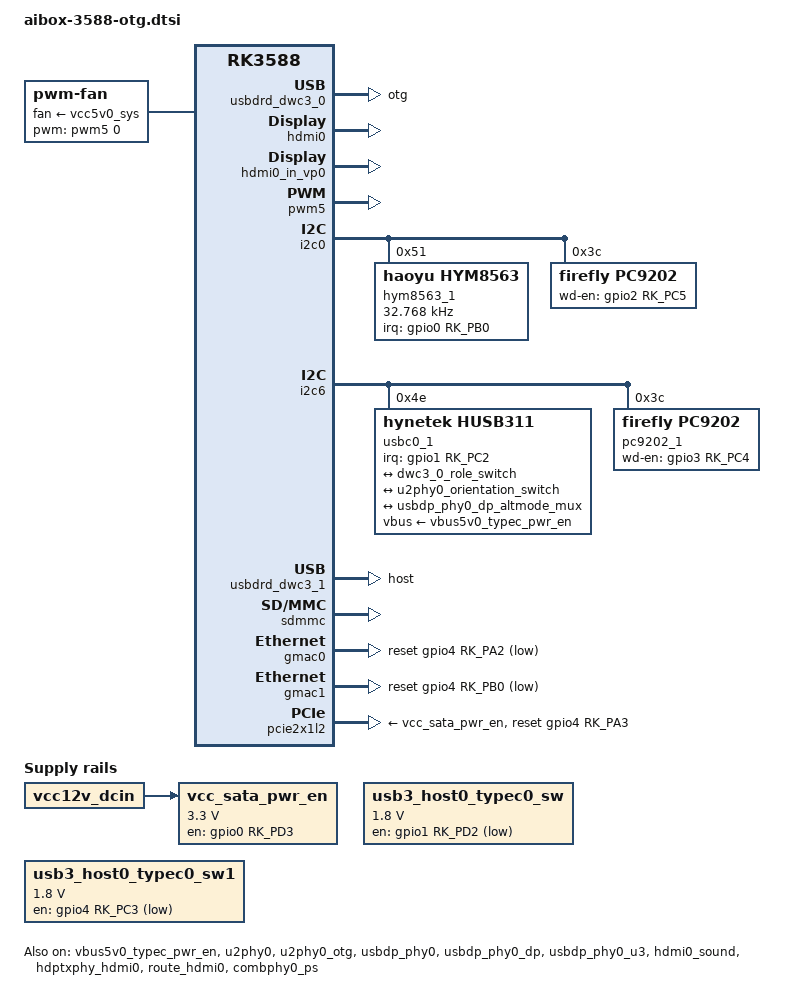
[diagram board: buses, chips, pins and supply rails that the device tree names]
// SPDX-License-Identifier: (GPL-2.0+ OR MIT)
/*
 * Copyright (c) 2021 Rockchip Electronics Co., Ltd.
 *
 */
 
 #define rk3588
 #include "rk3588-firefly-port.dtsi"
 #include "rk3588-diff.dtsi"

#define M2_SATA_OR_PCIE 0 /*1 = SATA , 0 = PCIe */
#define TYPEC_OTG_20 1 /*1 = OTG , 0 = HOST */

 / {

	usb3_host0_typec0_sw: usb3-host0-typec0-sw {
  		compatible = "regulator-fixed";
                regulator-name = "usb3_host0_typec0_sw";
                regulator-min-microvolt = <1800000>;
                regulator-max-microvolt = <1800000>;
                regulator-always-on;
                regulator-boot-on;
				enable-active-low;
				gpio = <&gpio1 RK_PD2 GPIO_ACTIVE_LOW>;
                pinctrl-names = "default";
                pinctrl-0 = <&usb3_host0_typec0_sw_en>;
	 };

 	usb3_host0_typec0_sw1: usb3-host0-typec0-sw1 {
  		compatible = "regulator-fixed";
                regulator-name = "usb3_host0_typec0_sw1";
                regulator-min-microvolt = <1800000>;
                regulator-max-microvolt = <1800000>;
                regulator-always-on;
                regulator-boot-on;
                enable-active-low;
                gpio = <&gpio4 RK_PC3 GPIO_ACTIVE_LOW>;
                pinctrl-names = "default";
                pinctrl-0 = <&usb3_host0_typec0_sw1_en>;
 	};

/* led */
	firefly_leds: leds {
		pinctrl-names = "default";
		pinctrl-0 =<&leds_gpio>;
		power_led: power {
			gpios = <&gpio2 RK_PC3 GPIO_ACTIVE_HIGH>;//blue led
		};

		user_led: user {
			gpios = < &gpio3 RK_PC1 GPIO_ACTIVE_HIGH>;//red led
		};

		user1_led: user1 {
			label = ":user1"; 
			default-state = "off";
			gpios = <&gpio3 RK_PC0 GPIO_ACTIVE_HIGH>;//green led
		};
	};

 	fan: pwm-fan {
		compatible = "pwm-fan";
		#cooling-cells = <2>;
		fan-supply = <&vcc5v0_sys>;
		pwms = <&pwm5 0 50000 0>;
		cooling-levels = <0 50 100 150 200 255>;
        rockchip,temp-trips = <
            50000   1
            55000   2
            60000   3
            65000   4
            70000   5
        >;
	};
};

#if TYPEC_OTG_20
&vbus5v0_typec_pwr_en{
	status = "okay";
	gpio = <&gpio1 RK_PD1 GPIO_ACTIVE_HIGH>; 
};

/delete-node/ &usbc0;

&usbdrd_dwc3_0 {
	status = "okay";
	dr_mode = "otg";
};

&u2phy0 {
	status = "okay";
	orientation-switch;
	port {
			#address-cells = <1>;
			#size-cells = <0>;
			u2phy0_orientation_switch: endpoint@0 {
					reg = <0>;
					remote-endpoint = <&usbc0_orien_sw>;
			};
		};
};

&u2phy0_otg { 
	status = "okay";
}; 
#else
&vbus5v0_typec_pwr_en {
    status = "okay";
    regulator-boot-on;
    regulator-always-on;
    enable-active-high;
    gpio = <&gpio1 RK_PD1 GPIO_ACTIVE_HIGH>;
};

&usbdrd_dwc3_0 {
	status = "okay";
	dr_mode = "host";
};

&u2phy0 {
	status = "okay";
};

&u2phy0_otg { 
   phy-supply  = <&vbus5v0_typec_pwr_en>;
   status = "okay";
}; 
#endif

&usbdp_phy0 {
	/delete-property/ sbu1-dc-gpios;
	/delete-property/ sbu2-dc-gpios;
	/delete-property/ orientation-switch;
	/delete-property/ svid;
	/delete-property/ usbdp_phy0_orientation_switch;
	/delete-property/ usbdp_phy0_dp_altmode_mux;
	status = "okay";
};

&usbdp_phy0_dp {
	status = "okay";
};

&usbdp_phy0_u3 {
	status = "okay";
};

/* hdmi0 */
&hdmi0 {
	enable-gpios = <&gpio1 RK_PB0 GPIO_ACTIVE_HIGH>;
	status = "okay";
};

&hdmi0_in_vp0 {
	status = "okay";
};

&hdmi0_sound {
	status = "okay";
};

&hdptxphy_hdmi0 {
	status = "okay";
};

&route_hdmi0{
	status = "okay";
};

//debug 115200
&fiq_debugger{
	rockchip,baudrate = <115200>;  /* Only 115200 and 1500000 */
};

&pwm5 {
	pinctrl-0 = <&pwm5m1_pins>;
	status = "okay";
};

&i2c0 {

	status = "okay";

/* rtc */
	hym8563_1: hym8563_1@51 {
		compatible = "haoyu,hym8563";
		reg = <0x51>;
		#clock-cells = <0>;
		clock-frequency = <32768>;
		clock-output-names = "hym8563";
		pinctrl-names = "default";
		pinctrl-0 = <&hym8563_int>;
		interrupt-parent = <&gpio0>;
		interrupts = <RK_PB0 IRQ_TYPE_LEVEL_LOW>;
		wakeup-source;
		status = "okay";
	};

/* watch dog on core*/
    pc9202@3c {
        status = "okay";
        compatible = "firefly,pc9202";
        index = <0>;
        driver-names = "wdt_core";
        reg = <0x3c>;
        wd-en-gpio = <&gpio2 RK_PC5 GPIO_ACTIVE_HIGH>;
    };
};

&i2c6 {
	status = "okay";
	pinctrl-names = "default";
	pinctrl-0 = <&i2c6m0_xfer>;
#if TYPEC_OTG_20
	usbc0_1: husb311@4e {
		compatible = "hynetek,husb311";
		reg = <0x4e>;
		interrupt-parent = <&gpio1>;
		interrupts = <RK_PC2 IRQ_TYPE_LEVEL_LOW>;
		pinctrl-names = "default";
		pinctrl-0 = <&usbc0_int>;
		vbus-supply = <&vbus5v0_typec_pwr_en>;
		status = "okay";

		ports {
			#address-cells = <1>;
			#size-cells = <0>;

			port@0 {
				reg = <0>;
				usbc0_role_sw: endpoint@0 {
					remote-endpoint = <&dwc3_0_role_switch>;
				};
			};
		};

		usb_con: connector {
			compatible = "usb-c-connector";
			label = "USB-C";
			data-role = "dual";
			power-role = "dual";
			try-power-role = "sink";
			op-sink-microwatt = <1000000>;
			sink-pdos =
				<PDO_FIXED(5000, 1000, PDO_FIXED_USB_COMM)>;
			source-pdos =
				<PDO_FIXED(5000, 3000, PDO_FIXED_USB_COMM)>;

			altmodes {
				#address-cells = <1>;
				#size-cells = <0>;

				altmode@0 {
					reg = <0>;
					svid = <0xff01>;
					vdo = <0xffffffff>;
				};
			};

			ports {
				#address-cells = <1>;
				#size-cells = <0>;

				port@0 {
					reg = <0>;
					usbc0_orien_sw: endpoint {
						remote-endpoint = <&u2phy0_orientation_switch>;
					};
				};
				
				port@1 {
					reg = <1>;
					dp_altmode_mux: endpoint {
						remote-endpoint = <&usbdp_phy0_dp_altmode_mux>;
					};
				};
			};
		};
	};
#endif

/* watch dog on mother base*/
    pc9202_1@3c {
        status = "okay";
        compatible = "firefly,pc9202";
        reg = <0x3c>;
        index = <1>;
        pinctrl-names = "default";
		pinctrl-0 =<&wdt_pc92>;
        wd-en-gpio = <&gpio3 RK_PC4 GPIO_ACTIVE_HIGH>; 
        driver-names = "wdt_base";
    };
};

/* usb */
&vcc5v0_host{
	status = "okay";
	gpio = <&gpio4 RK_PC6 GPIO_ACTIVE_HIGH>;  
};

//down
&usbdrd_dwc3_1{
	dr_mode = "host";
};

/* tf-card */
&sdmmc {
	status = "okay";
};

&vcc_sdcard_pwr_en{
	gpio = <&gpio1 RK_PA7 GPIO_ACTIVE_HIGH>; 
	status = "okay";
};

/* gamc0 */
&gmac0 {
	snps,reset-gpio = <&gpio4 RK_PA2 GPIO_ACTIVE_LOW>;
	tx_delay = <0x37>;
	status = "okay";
};

&gmac0_tx_bus2{
    rockchip,pins =
    /* gmac0_txd0 */
    <2 RK_PB6 1 &pcfg_pull_up_drv_level_6>,
    /* gmac0_txd1 */
    <2 RK_PB7 1 &pcfg_pull_up_drv_level_6>,
    /* gmac0_txen */
    <2 RK_PC0 1 &pcfg_pull_none>;
};

&gmac0_rgmii_bus{
	rockchip,pins =
	/* gmac0_rxd2 */
	<2 RK_PA6 1 &pcfg_pull_none>,
	/* gmac0_rxd3 */
	<2 RK_PA7 1 &pcfg_pull_none>,
	/* gmac0_txd2 */
	<2 RK_PB1 1 &pcfg_pull_up_drv_level_6>,
	/* gmac0_txd3 */
	<2 RK_PB2 1 &pcfg_pull_up_drv_level_6>;
};

/* gmac1 */
&gmac1 {
	snps,reset-gpio = <&gpio4 RK_PB0 GPIO_ACTIVE_LOW>;
	tx_delay = <0x45>;
	status = "okay";
};

&gmac1_tx_bus2{
	rockchip,pins =
	/* gmac1_txd0 */
	<3 RK_PB3 1 &pcfg_pull_up_drv_level_6>,
    /* gmac1_txd1 */
	<3 RK_PB4 1 &pcfg_pull_up_drv_level_6>,
	/* gmac1_txen */
	<3 RK_PB5 1 &pcfg_pull_none>;
};

&gmac1_rgmii_bus{
	rockchip,pins =
	/* gmac1_rxd2 */
	<3 RK_PA2 1 &pcfg_pull_none>,
	/* gmac1_rxd3 */
	<3 RK_PA3 1 &pcfg_pull_none>,
	/* gmac1_txd2 */
	<3 RK_PA0 1 &pcfg_pull_up_drv_level_6>,
	/* gmac1_txd3 */
	<3 RK_PA1 1 &pcfg_pull_up_drv_level_6>;
};

/* sata pm */
&combphy0_ps {
	status = "okay";
};


#if M2_SATA_OR_PCIE
&sata0 {
    //pinctrl-names = "default";
    //pinctrl-0 = <&sata_reset>;
	status = "okay";
};
#else
&pcie2x1l2 {
	reset-gpios = <&gpio4 RK_PA3 GPIO_ACTIVE_HIGH>;
	vpcie3v3-supply = <&vcc_sata_pwr_en>;
	status = "okay";
};
#endif

&vcc_sata_pwr_en{
	status = "okay";
	gpio = <&gpio0 RK_PD3 GPIO_ACTIVE_HIGH>;  
	regulator-min-microvolt = <3300000>;
	regulator-max-microvolt = <3300000>;
	regulator-always-on;
	enable-active-high;
	startup-delay-us = <5000>;
	vin-supply = <&vcc12v_dcin>;
};

/* pinctrl */
&pinctrl {
	headphone {
		hp_det: hp-det {
			rockchip,pins = <1 RK_PC4 RK_FUNC_GPIO &pcfg_pull_none>;
		};
	};

	leds {
		leds_gpio: leds-gpio {
			/* led_power */
			rockchip,pins = <3 16 RK_FUNC_GPIO &pcfg_pull_none>,
							<3 17 RK_FUNC_GPIO &pcfg_pull_none>,
							<2 19 RK_FUNC_GPIO &pcfg_pull_none>;
		};
 	};

 	hym8563 {
		hym8563_int: hym8563-int {
			rockchip,pins = <0 RK_PB0 RK_FUNC_GPIO &pcfg_pull_none>;
		};
	};

	usb-typec { 
		usbc0_int: usbc0-int { 
			rockchip,pins = <1 RK_PC2 RK_FUNC_GPIO &pcfg_pull_none>; 
		}; 
		usb3_host0_typec0_sw_en: usb3-host0-typec0-sw-en{
   			rockchip,pins = <1 RK_PD2 RK_FUNC_GPIO &pcfg_pull_none>;
  		};
  		usb3_host0_typec0_sw1_en: usb3-host0-typec0-sw1-en{
   			rockchip,pins = <4 RK_PC3 RK_FUNC_GPIO &pcfg_pull_none>;
  		};

	};

	hdmirx {
		hdmirx_det: hdmirx-det {
			rockchip,pins = <1 RK_PD5 RK_FUNC_GPIO &pcfg_pull_none>;
		};
	};

	wdt {
		wdt_pc92: wdt_pc92 {
			rockchip,pins = <3 RK_PC4 RK_FUNC_GPIO &pcfg_pull_none>;
		};
	};

	wireless-bluetooth {
		uart6_gpios: uart6-gpios {
			rockchip,pins = <1 RK_PA2 RK_FUNC_GPIO &pcfg_pull_none>;
		};

		bt_reset_gpio: bt-reset-gpio {
			rockchip,pins = <0 RK_PC6 RK_FUNC_GPIO &pcfg_pull_none>;
		};

		bt_wake_gpio: bt-wake-gpio {
			rockchip,pins = <0 RK_PC5 RK_FUNC_GPIO &pcfg_pull_none>;
		};

		bt_irq_gpio: bt-irq-gpio {
			rockchip,pins = <0 RK_PA0 RK_FUNC_GPIO &pcfg_pull_none>;
		};
	};

	wireless-wlan {
		wifi_host_wake_irq: wifi-host-wake-irq {
			rockchip,pins = <0 RK_PB2 RK_FUNC_GPIO &pcfg_pull_none>;
		};

		wifi_poweren_gpio: wifi-poweren-gpio {
			rockchip,pins = <0 RK_PC4 RK_FUNC_GPIO &pcfg_pull_none>;
		};
	};
};
